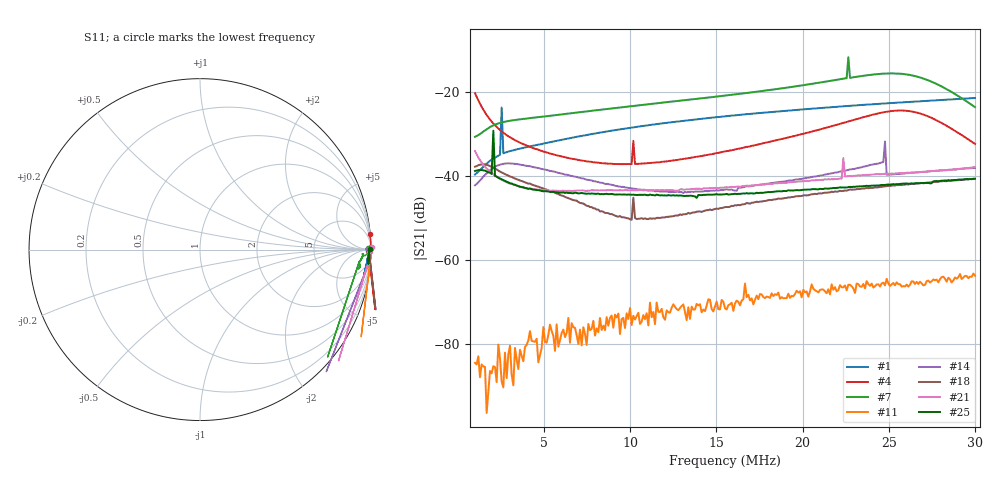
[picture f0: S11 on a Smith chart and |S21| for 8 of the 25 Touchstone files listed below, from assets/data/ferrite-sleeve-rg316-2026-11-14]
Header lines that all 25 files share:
!File created by NanoVNA-F V2
# Hz S RI R 50
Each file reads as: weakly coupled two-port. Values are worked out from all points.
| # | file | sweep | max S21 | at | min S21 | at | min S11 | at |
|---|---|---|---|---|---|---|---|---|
| 1 | SJ000027.s2p | 1 MHz to 30 MHz | -21.31 dB | 30 MHz | -39.6 dB | 1 MHz | -0.3 dB | 30 MHz |
| 2 | SJ000028.s2p | 1 MHz to 30 MHz | -14.70 dB | 25.17 MHz | -40.2 dB | 3.9 MHz | -0.1 dB | 24.59 MHz |
| 3 | SJ000029.s2p | 1 MHz to 30 MHz | -19.35 dB | 22.27 MHz | -40.7 dB | 6.51 MHz | -0.1 dB | 3.223 MHz |
| 4 | SJ000030.s2p | 1 MHz to 30 MHz | -20.17 dB | 1 MHz | -37.1 dB | 9.603 MHz | -0.2 dB | 3.9 MHz |
| 5 | SJ000031.s2p | 1 MHz to 30 MHz | -25.49 dB | 19.37 MHz | -36.8 dB | 6.607 MHz | -0.2 dB | 3.707 MHz |
| 6 | SJ000032.s2p | 1 MHz to 30 MHz | -16.23 dB | 27.78 MHz | -35.6 dB | 1 MHz | -0.4 dB | 30 MHz |
| 7 | SJ000033.s2p | 1 MHz to 30 MHz | -11.60 dB | 22.65 MHz | -30.6 dB | 1 MHz | -0.6 dB | 20.72 MHz |
| 8 | SJ000034.s2p | 1 MHz to 30 MHz | -21.73 dB | 1 MHz | -34.0 dB | 15.11 MHz | -0.3 dB | 3.513 MHz |
| 9 | SJ000037.s2p | 1 MHz to 30 MHz | -14.96 dB | 1 MHz | -31.6 dB | 30 MHz | -0.6 dB | 3.513 MHz |
| 10 | SJ000038.s2p | 1.097 MHz to 30 MHz | -15.13 dB | 29.9 MHz | -23.6 dB | 1.097 MHz | -1.5 dB | 30 MHz |
| 11 | SJ000045.s2p | 1 MHz to 30 MHz | -63.21 dB | 29.9 MHz | -96.5 dB | 1.677 MHz | -0.1 dB | 1.58 MHz |
| 12 | SJ000047.s2p | 1 MHz to 30 MHz | -36.06 dB | 4.19 MHz | -42.7 dB | 16.27 MHz | -0.2 dB | 6.703 MHz |
| 13 | SJ000048.s2p | 1.097 MHz to 30 MHz | -36.50 dB | 5.447 MHz | -41.9 dB | 19.56 MHz | -0.2 dB | 8.057 MHz |
| 14 | SJ000050.s2p | 1 MHz to 30 MHz | -31.70 dB | 24.78 MHz | -44.0 dB | 13.08 MHz | -0.3 dB | 1.87 MHz |
| 15 | SJ000052.s2p | 1 MHz to 30 MHz | -32.02 dB | 6.027 MHz | -42.2 dB | 14.15 MHz | -0.2 dB | 4.673 MHz |
| 16 | SJ000054.s2p | 1 MHz to 30 MHz | -34.95 dB | 29.9 MHz | -42.1 dB | 1 MHz | -0.2 dB | 3.417 MHz |
| 17 | SJ000055.s2p | 1 MHz to 30 MHz | -37.01 dB | 1.483 MHz | -44.3 dB | 10.38 MHz | -0.2 dB | 3.513 MHz |
| 18 | SJ000056.s2p | 1 MHz to 30 MHz | -37.14 dB | 1.483 MHz | -50.4 dB | 10.09 MHz | -0.2 dB | 3.32 MHz |
| 19 | SJ000058.s2p | 1 MHz to 30 MHz | -37.66 dB | 1.773 MHz | -49.0 dB | 11.44 MHz | -0.2 dB | 3.417 MHz |
| 20 | SJ000059.s2p | 1 MHz to 30 MHz | -36.73 dB | 4.673 MHz | -42.7 dB | 22.56 MHz | -0.2 dB | 1.87 MHz |
| 21 | SJ000060.s2p | 1 MHz to 30 MHz | -34.00 dB | 1 MHz | -43.5 dB | 6.607 MHz | -0.1 dB | 3.513 MHz |
| 22 | SJ000061.s2p | 1 MHz to 30 MHz | -38.78 dB | 1.29 MHz | -45.6 dB | 14.73 MHz | -0.2 dB | 1.58 MHz |
| 23 | SJ000062.s2p | 1 MHz to 30 MHz | -28.99 dB | 1.87 MHz | -46.5 dB | 12.7 MHz | -0.2 dB | 3.417 MHz |
| 24 | SJ000063.s2p | 1 MHz to 30 MHz | -36.70 dB | 28.07 MHz | -43.5 dB | 16.85 MHz | -0.2 dB | 3.223 MHz |
| 25 | SJ000064.s2p | 1 MHz to 30 MHz | -29.13 dB | 2.063 MHz | -45.2 dB | 13.86 MHz | -0.1 dB | 10.96 MHz |
